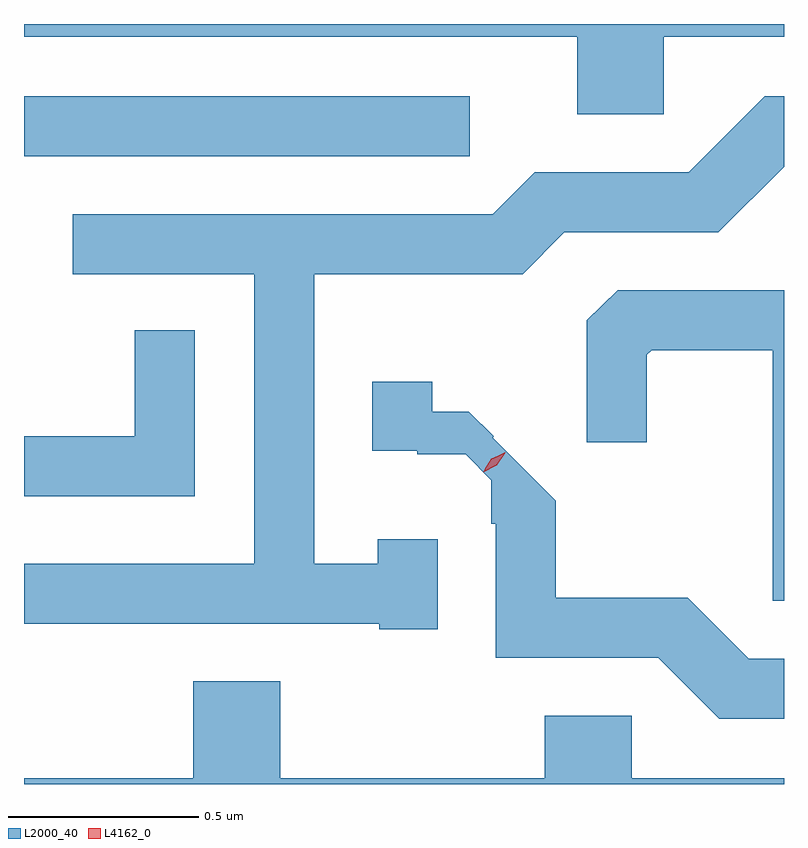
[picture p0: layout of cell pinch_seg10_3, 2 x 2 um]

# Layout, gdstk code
import gdstk
lib = gdstk.Library(unit=1e-6, precision=1e-09)
def R(c, l, rs):  # rectangles x0, y0, x1, y1
    for r in rs: c.add(gdstk.rectangle(r[:2], r[2:], *l))
def P(c, l, *ps):  # polygons
    for p in ps: c.add(gdstk.Polygon(p, *l))
L2000_40 = (2000, 40)
L4162_0 = (4162, 0)

pinch_seg10_3 = lib.new_cell('pinch_seg10_3')
R(pinch_seg10_3, L2000_40, [(849.965,2135.801,851.138,2135.959)])
P(pinch_seg10_3, L2000_40, [(851.649,2136.116),(851.965,2136.116),(851.965,2136.149),(849.965,2136.149),(849.965,2136.116),(851.421,2136.116),(851.421,2135.911),(851.649,2135.911)],
  [(851.054,2134.793),(850.896,2134.793),(850.896,2134.729),(850.729,2134.729),(850.729,2135.491),(851.277,2135.491),(851.387,2135.601),(851.792,2135.601),(851.965,2135.774),(851.965,2135.959),(851.914,2135.959),(851.714,2135.759),(851.309,2135.759),(851.199,2135.649),(850.093,2135.649),(850.093,2135.491),(850.571,2135.491),(850.571,2134.729),(849.965,2134.729),(849.965,2134.571),(850.9,2134.571),(850.9,2134.556),(851.054,2134.556)],
  [(851.965,2135.449),(851.527,2135.449),(851.446,2135.369),(851.446,2135.048),(851.604,2135.048),(851.604,2135.279),(851.617,2135.291),(851.936,2135.291),(851.936,2134.631),(851.965,2134.631)],
  [(850.414,2135.343),(850.256,2135.343),(850.256,2135.064),(849.965,2135.064),(849.965,2134.906),(850.414,2134.906)],
  [(851.965,2134.479),(851.872,2134.479),(851.712,2134.639),(851.364,2134.639),(851.364,2134.894),(851.198,2135.06),(851.201,2135.064),(851.136,2135.129),(851.039,2135.129),(851.039,2135.208),(850.881,2135.208),(850.881,2135.026),(851,2135.026),(851,2135.017),(851.128,2135.017),(851.195,2134.949),(851.195,2134.834),(851.206,2134.834),(851.206,2134.481),(851.634,2134.481),(851.794,2134.321),(851.965,2134.321)],
  [(851.965,2134.164),(851.564,2134.164),(851.564,2134.329),(851.336,2134.329),(851.336,2134.164),(850.639,2134.164),(850.639,2134.419),(850.411,2134.419),(850.411,2134.164),(849.965,2134.164),(849.965,2134.149),(851.965,2134.149)])
P(pinch_seg10_3, L4162_0, [(851.173,2134.97),(851.173,2134.97),(851.196,2135.003),(851.231,2135.022),(851.232,2135.022),(851.232,2135.021),(851.209,2134.988),(851.174,2134.97)],
  [(851.177,2134.976),(851.177,2134.977),(851.195,2135.005),(851.225,2135.018),(851.226,2135.018),(851.226,2135.018),(851.208,2134.99),(851.177,2134.976)])

lib.write_gds('pinch_seg10_3.gds')
